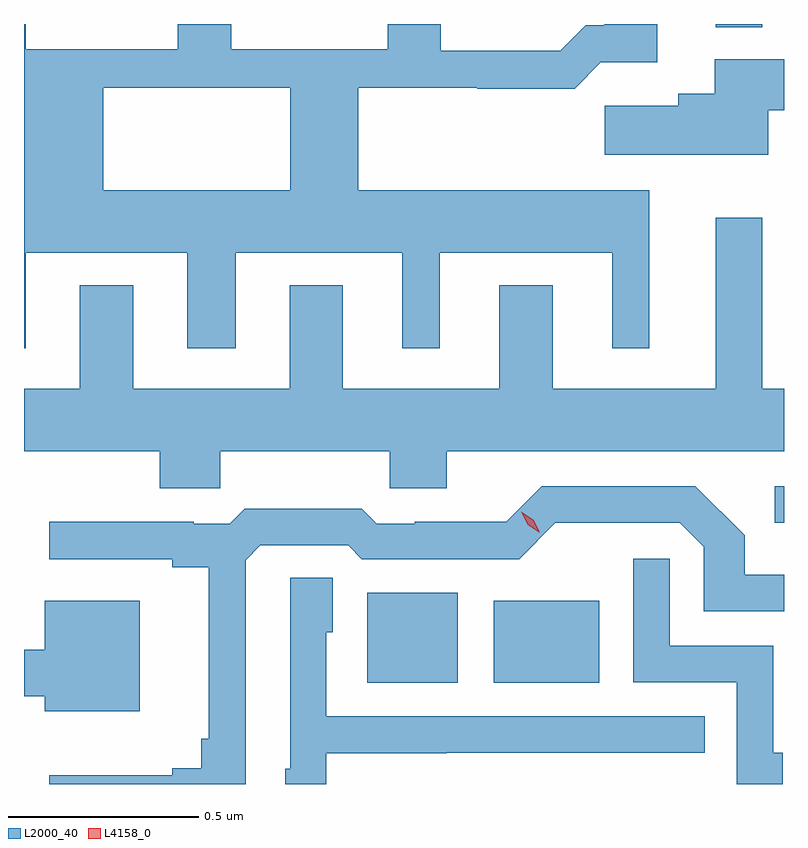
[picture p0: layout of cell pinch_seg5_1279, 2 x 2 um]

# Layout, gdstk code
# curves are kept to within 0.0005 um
import gdstk
lib = gdstk.Library(unit=1e-6, precision=1e-09)
def R(c, l, rs):  # rectangles x0, y0, x1, y1
    for r in rs: c.add(gdstk.rectangle(r[:2], r[2:], *l))
def P(c, l, *ps):  # polygons
    for p in ps: c.add(gdstk.Polygon(p, *l))
L2000_40 = (2000, 40)
L4158_0 = (4158, 0)

pinch_seg5_1279 = lib.new_cell('pinch_seg5_1279')
R(pinch_seg5_1279, L2000_40, [(411.959,889.451,412.198,889.687), (412.292,889.451,412.57,889.666), (413.031,889.871,413.056,889.968), (412.877,891.176,412.999,891.184)])
P(pinch_seg5_1279, L2000_40, [(411.061,890.331),(411.061,890.582),(411.485,890.582),(411.485,890.331),(411.613,890.331),(411.613,890.582),(412.052,890.582),(412.052,890.331),(412.15,890.331),(412.15,890.582),(412.604,890.582),(412.604,890.331),(412.702,890.331),(412.702,890.746),(411.935,890.746),(411.935,891.016),(412.249,891.016),(412.249,891.014),(412.505,891.014),(412.574,891.083),(412.723,891.083),(412.723,891.184),(412.583,891.184),(412.583,891.181),(412.534,891.181),(412.467,891.114),(412.153,891.114),(412.153,891.184),(412.013,891.184),(412.013,891.117),(411.601,891.117),(411.601,891.184),(411.461,891.184),(411.461,891.117),(411.061,891.117),(411.061,891.184),(411.056,891.184),(411.056,890.746),(411.265,890.746),(411.265,891.016),(411.757,891.016),(411.757,890.746),(411.056,890.746),(411.056,890.331)],
  [(413.014,890.957),(413.056,890.957),(413.056,891.091),(412.874,891.091),(412.874,891.001),(412.778,891.001),(412.778,890.969),(412.584,890.969),(412.584,890.84),(413.014,890.84)],
  [(411.573,890.06),(412.018,890.06),(412.018,889.962),(412.168,889.962),(412.168,890.06),(413.056,890.06),(413.056,890.224),(412.999,890.224),(412.999,890.674),(412.877,890.674),(412.877,890.224),(412.447,890.224),(412.447,890.497),(412.307,890.497),(412.307,890.224),(411.895,890.224),(411.895,890.497),(411.755,890.497),(411.755,890.224),(411.343,890.224),(411.343,890.497),(411.203,890.497),(411.203,890.224),(411.056,890.224),(411.056,890.06),(411.413,890.06),(411.413,889.962),(411.573,889.962)],
  [(411.639,889.773),(411.678,889.812),(411.909,889.812),(411.945,889.776),(412.359,889.776),(412.454,889.871),(412.558,889.871),(412.558,889.872),(412.782,889.872),(412.845,889.809),(412.845,889.638),(413.056,889.638),(413.056,889.735),(412.953,889.735),(412.953,889.838),(412.822,889.968),(412.419,889.968),(412.325,889.874),(412.084,889.874),(412.084,889.869),(411.984,889.869),(411.945,889.909),(411.637,889.909),(411.597,889.869),(411.503,889.869),(411.503,889.874),(411.123,889.874),(411.123,889.776),(411.446,889.776),(411.446,889.754),(411.542,889.754),(411.542,889.303),(411.523,889.303),(411.523,889.226),(411.446,889.226),(411.446,889.207),(411.123,889.207),(411.123,889.184),(411.639,889.184)],
  [(413.053,889.266),(413.028,889.266),(413.028,889.548),(412.755,889.548),(412.755,889.777),(412.659,889.777),(412.659,889.452),(412.932,889.452),(412.932,889.184),(413.053,889.184)],
  [(411.852,889.265),(412.169,889.265),(412.169,889.266),(412.847,889.266),(412.847,889.362),(411.852,889.362),(411.852,889.584),(411.868,889.584),(411.868,889.727),(411.756,889.727),(411.756,889.224),(411.743,889.224),(411.743,889.184),(411.852,889.184)],
  [(411.361,889.666),(411.11,889.666),(411.11,889.537),(411.056,889.537),(411.056,889.415),(411.11,889.415),(411.11,889.376),(411.361,889.376)])
P(pinch_seg5_1279, L4158_0, [(412.412,889.846),(412.381,889.866),(412.365,889.9),(412.365,889.9),(412.365,889.9),(412.396,889.88),(412.413,889.846),(412.413,889.846)])

lib.write_gds('pinch_seg5_1279.gds')
